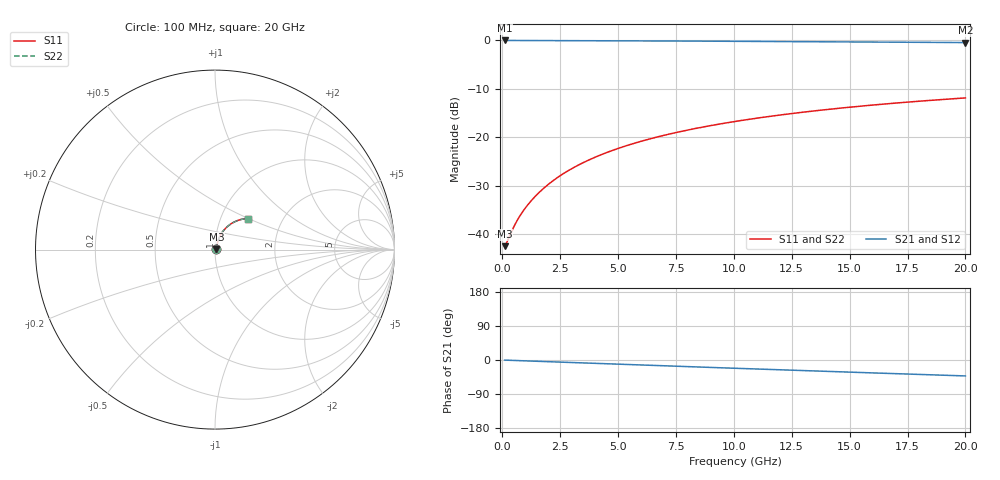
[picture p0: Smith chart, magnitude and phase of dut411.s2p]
! Touchstone file exported from HFSS 2026.1.0
!  File:  C:/ffzhzh/LocalFiles/Ansys_Project_Files/temp_train_BSMRDL_411_1783012553_46388.aedt
!  Generated:  01:17:11 AM Jul  3, 2026
!  Design:  BSMRDL
!  Project:  temp_train_BSMRDL_411_1783012553_46388
! Variables:
!  h_bsmrdl = 3.2um
!  h_ox = 20um
!  h_rdl = 5um
!  h_sub = 80um
!  h_tmrdl = 5um
!  h_tsv = 80um
!  h_via = 3um
!  l_bsmrdl = 721.55um
!  l_sub = 1121.55um
!  l_tmrdl = 200um
!  m_sub = 200um
!  pitch = 18.56um
!  r_tsv = 6um
!  s_tmrdl = 10um
!  w_bsmrdl = 10.89um
!  w_sub = 500um
!  w_tmrdl = 12um
!  x_tsv_center1 = 206um
!  x_tsv_center2 = 938.44um
!  x_tsv_center3 = 1150.44um
!  x_tsv_center4 = 1882.88um
!  x_tsv_center5 = 2094.88um
!  x_tsv_center6 = 2827.32um
# GHz S MA R 50.000000
! Terminal data exported
! Port[1] = BSM_RDL1_1_T1
! Port[2] = BSM_RDL1_1_T2
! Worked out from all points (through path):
!   200 points, 100 MHz to 20 GHz, reference 50 ohm
!   highest |S21| = -0.06 dB at 100 MHz (marker M1); lowest = -0.5 dB at 20 GHz (marker M2)
!   group delay of S21, straight-line fit = 5.83 ps
!   lowest |S11| = -42.4 dB at 100 MHz (marker M3), VSWR 1.02, Z = 50.7 + j0.188 ohm
!   |S11| at or under -10 dB: start of sweep to end of sweep
!   |S22| runs from -42.4 to -11.9 dB; largest |S21 - S12| = 3.4e-15
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0.1  0.007567 14.2  0.9927 -0.2  0.9927 -0.2  0.007567 14.2
! Gamma 0 0 0 0
! Port Impedance 50 0 50 0
0.2  0.008347 26.0  0.9925 -0.5  0.9925 -0.5  0.008347 26.0
0.5  0.01201 46.2  0.9918 -1.2  0.9918 -1.2  0.01201 46.2
0.7  0.0147 52.9  0.9914 -1.6  0.9914 -1.6  0.0147 52.9
0.8  0.01605 55.3  0.9912 -1.8  0.9912 -1.8  0.01605 55.3
1  0.01878 59.2  0.9909 -2.3  0.9909 -2.3  0.01878 59.2
1.2  0.02154 62.0  0.9906 -2.7  0.9906 -2.7  0.02154 62.0
1.4  0.02434 64.2  0.9904 -3.2  0.9904 -3.2  0.02434 64.2
1.8  0.03004 67.3  0.99 -4.0  0.99 -4.0  0.03004 67.2
2.3  0.03728 69.4  0.9894 -5.1  0.9894 -5.1  0.03729 69.4
2.9  0.04607 70.6  0.9887 -6.5  0.9887 -6.5  0.04608 70.6
3.5  0.05489 71.0  0.9879 -7.8  0.9879 -7.8  0.05489 71.0
4.2  0.06513 70.8  0.9867 -9.3  0.9867 -9.3  0.06514 70.8
5  0.07674 70.1  0.9853 -11.0  0.9853 -11.0  0.07674 70.1
5.9  0.0896 68.9  0.9834 -13.0  0.9834 -13.0  0.0896 68.9
6.8  0.1022 67.6  0.9814 -14.9  0.9814 -14.9  0.1022 67.5
8.3  0.1226 65.0  0.9777 -18.1  0.9777 -18.1  0.1227 64.9
10.1  0.1461 61.6  0.9728 -21.9  0.9728 -21.9  0.1461 61.6
11.7  0.166 58.6  0.9683 -25.3  0.9683 -25.3  0.166 58.6
13.4  0.186 55.4  0.9634 -28.8  0.9634 -28.8  0.1861 55.3
16.7  0.222 49.1  0.9537 -35.5  0.9537 -35.5  0.2221 49.1
20  0.2541 43.0  0.9442 -42.0  0.9442 -42.0  0.2541 42.9
